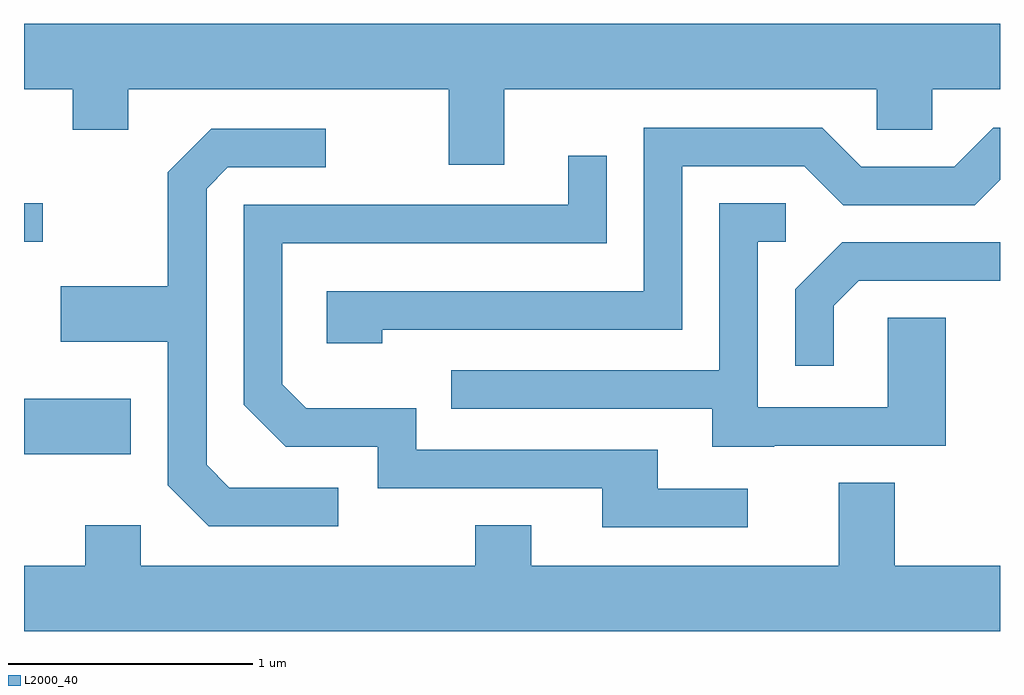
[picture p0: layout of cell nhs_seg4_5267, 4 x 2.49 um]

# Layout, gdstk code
import gdstk
lib = gdstk.Library(unit=1e-6, precision=1e-09)
def R(c, l, rs):  # rectangles x0, y0, x1, y1
    for r in rs: c.add(gdstk.rectangle(r[:2], r[2:], *l))
def P(c, l, *ps):  # polygons
    for p in ps: c.add(gdstk.Polygon(p, *l))
L2000_40 = (2000, 40)

nhs_seg4_5267 = lib.new_cell('nhs_seg4_5267')
R(nhs_seg4_5267, L2000_40, [(339.611,1317.661,340.049,1317.889), (339.611,1318.531,339.688,1318.689)])
P(nhs_seg4_5267, L2000_40, [(341.579,1319.156),(343.106,1319.156),(343.106,1318.991),(343.334,1318.991),(343.334,1319.156),(343.611,1319.156),(343.611,1319.424),(339.611,1319.424),(339.611,1319.156),(339.811,1319.156),(339.811,1318.991),(340.039,1318.991),(340.039,1319.156),(341.351,1319.156),(341.351,1318.846),(341.579,1318.846)],
  [(341.079,1318.171),(342.309,1318.171),(342.309,1318.841),(342.809,1318.841),(342.969,1318.681),(343.507,1318.681),(343.611,1318.785),(343.611,1318.999),(343.584,1318.999),(343.424,1318.839),(343.042,1318.839),(342.882,1318.999),(342.151,1318.999),(342.151,1318.329),(340.851,1318.329),(340.851,1318.116),(341.079,1318.116)],
  [(340.898,1317.524),(340.452,1317.524),(340.359,1317.617),(340.359,1318.749),(340.447,1318.836),(340.848,1318.836),(340.848,1318.994),(340.379,1318.994),(340.201,1318.817),(340.201,1318.349),(339.761,1318.349),(339.761,1318.121),(340.201,1318.121),(340.201,1317.534),(340.369,1317.366),(340.898,1317.366)],
  [(342.578,1317.519),(342.209,1317.519),(342.209,1317.679),(341.219,1317.679),(341.219,1317.849),(340.767,1317.849),(340.669,1317.947),(340.669,1318.526),(341.999,1318.526),(341.999,1318.883),(341.841,1318.883),(341.841,1318.684),(340.511,1318.684),(340.511,1317.864),(340.684,1317.691),(341.061,1317.691),(341.061,1317.521),(341.981,1317.521),(341.981,1317.361),(342.578,1317.361)],
  [(342.685,1317.696),(343.389,1317.696),(343.389,1318.219),(343.151,1318.219),(343.151,1317.854),(342.619,1317.854),(342.619,1318.531),(342.733,1318.531),(342.733,1318.689),(342.461,1318.689),(342.461,1318.004),(341.363,1318.004),(341.363,1317.846),(342.431,1317.846),(342.431,1317.691),(342.685,1317.691)],
  [(342.929,1318.269),(343.032,1318.371),(343.611,1318.371),(343.611,1318.529),(342.964,1318.529),(342.771,1318.337),(342.771,1318.023),(342.929,1318.023)],
  [(343.611,1317.204),(343.179,1317.204),(343.179,1317.544),(342.951,1317.544),(342.951,1317.204),(341.689,1317.204),(341.689,1317.369),(341.461,1317.369),(341.461,1317.204),(340.089,1317.204),(340.089,1317.369),(339.861,1317.369),(339.861,1317.204),(339.611,1317.204),(339.611,1316.936),(343.611,1316.936)])

lib.write_gds('nhs_seg4_5267.gds')
